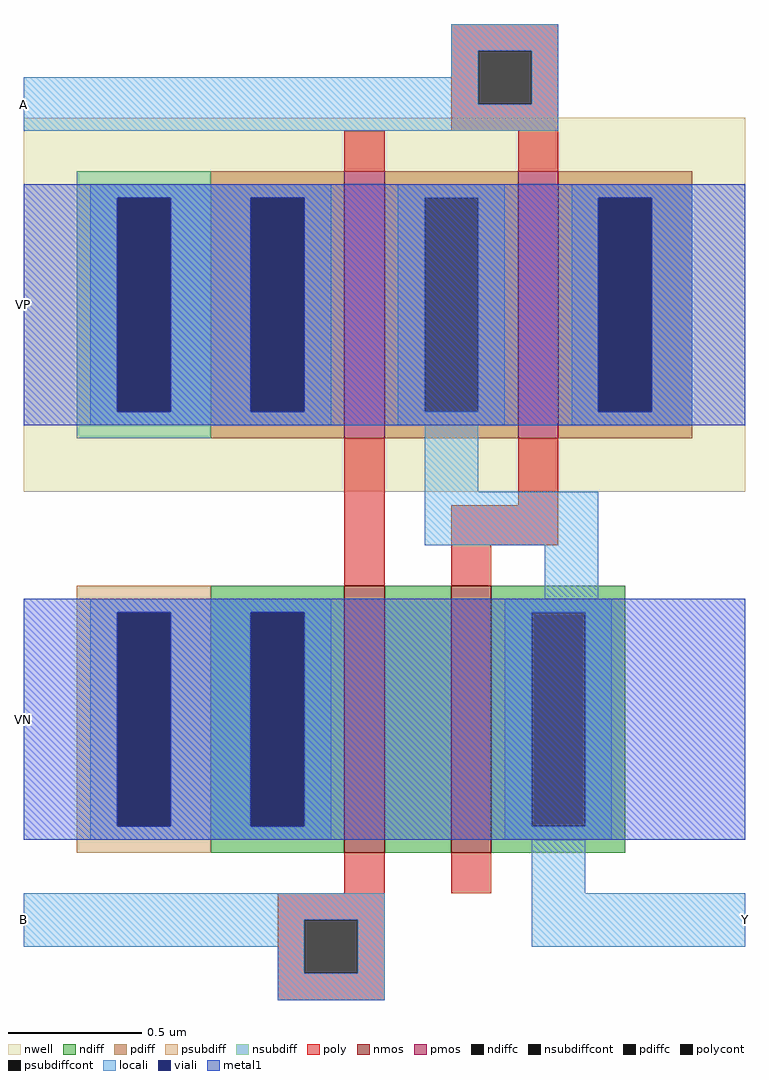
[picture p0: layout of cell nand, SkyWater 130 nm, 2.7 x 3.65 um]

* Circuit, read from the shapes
.subckt nand B A Y VN VP
XM1 n1 B VN VN sky130_fd_pr__nfet_01v8 w=1 l=0.15
XM2 Y A n1 VN sky130_fd_pr__nfet_01v8 w=1 l=0.15
XM3 Y B VP VP sky130_fd_pr__pfet_01v8 w=1 l=0.15
XM4 VP A Y VP sky130_fd_pr__pfet_01v8 w=1 l=0.15
.ends

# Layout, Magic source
magic
tech sky130A
<< nwell >>
rect -380 175 -110 315
<< nmos >>
rect -260 40 -245 140
rect -220 40 -205 140
<< pmos >>
rect -260 195 -245 295
rect -195 195 -180 295
<< ndiff >>
rect -310 130 -260 140
rect -310 50 -295 130
rect -275 50 -260 130
rect -310 40 -260 50
rect -245 40 -220 140
rect -205 130 -155 140
rect -205 50 -190 130
rect -170 50 -155 130
rect -205 40 -155 50
<< pdiff >>
rect -310 285 -260 295
rect -310 205 -295 285
rect -275 205 -260 285
rect -310 195 -260 205
rect -245 285 -195 295
rect -245 205 -230 285
rect -210 205 -195 285
rect -245 195 -195 205
rect -180 285 -130 295
rect -180 205 -165 285
rect -145 205 -130 285
rect -180 195 -130 205
<< ndiffc >>
rect -295 50 -275 130
rect -190 50 -170 130
<< pdiffc >>
rect -295 205 -275 285
rect -230 205 -210 285
rect -165 205 -145 285
<< psubdiff >>
rect -360 130 -310 140
rect -360 50 -345 130
rect -325 50 -310 130
rect -360 40 -310 50
<< nsubdiff >>
rect -360 285 -310 295
rect -360 205 -345 285
rect -325 205 -310 285
rect -360 195 -310 205
<< psubdiffcont >>
rect -345 50 -325 130
<< nsubdiffcont >>
rect -345 205 -325 285
<< poly >>
rect -220 340 -180 350
rect -220 320 -210 340
rect -190 320 -180 340
rect -220 310 -180 320
rect -260 295 -245 310
rect -195 295 -180 310
rect -260 140 -245 195
rect -195 170 -180 195
rect -220 155 -180 170
rect -220 140 -205 155
rect -260 25 -245 40
rect -220 25 -205 40
rect -285 15 -245 25
rect -285 -5 -275 15
rect -255 -5 -245 15
rect -285 -15 -245 -5
<< polycont >>
rect -210 320 -190 340
rect -275 -5 -255 15
<< locali >>
rect -220 340 -180 350
rect -220 330 -210 340
rect -380 320 -210 330
rect -190 320 -180 340
rect -380 310 -180 320
rect -355 285 -265 290
rect -355 205 -345 285
rect -325 205 -295 285
rect -275 205 -265 285
rect -355 200 -265 205
rect -240 285 -200 290
rect -240 205 -230 285
rect -210 205 -200 285
rect -240 200 -200 205
rect -175 285 -130 290
rect -175 205 -165 285
rect -145 205 -130 285
rect -175 200 -130 205
rect -230 175 -210 200
rect -230 155 -165 175
rect -185 135 -165 155
rect -355 130 -265 135
rect -355 50 -345 130
rect -325 50 -295 130
rect -275 50 -265 130
rect -355 45 -265 50
rect -200 130 -160 135
rect -200 50 -190 130
rect -170 50 -160 130
rect -200 45 -160 50
rect -190 25 -170 45
rect -380 15 -245 25
rect -380 5 -275 15
rect -285 -5 -275 5
rect -255 -5 -245 15
rect -190 5 -110 25
rect -285 -15 -245 -5
<< viali >>
rect -345 205 -325 285
rect -295 205 -275 285
rect -165 205 -145 285
rect -345 50 -325 130
rect -295 50 -275 130
<< metal1 >>
rect -380 285 -110 290
rect -380 205 -345 285
rect -325 205 -295 285
rect -275 205 -165 285
rect -145 205 -110 285
rect -380 200 -110 205
rect -380 130 -110 135
rect -380 50 -345 130
rect -325 50 -295 130
rect -275 50 -110 130
rect -380 45 -110 50
<< labels >>
rlabel locali -380 15 -380 15 7 B
port 1 w
rlabel locali -380 320 -380 320 7 A
port 2 w
rlabel metal1 -380 90 -380 90 7 VN
port 4 w
rlabel metal1 -380 245 -380 245 7 VP
port 5 w
rlabel locali -110 15 -110 15 3 Y
port 3 e
<< end >>
